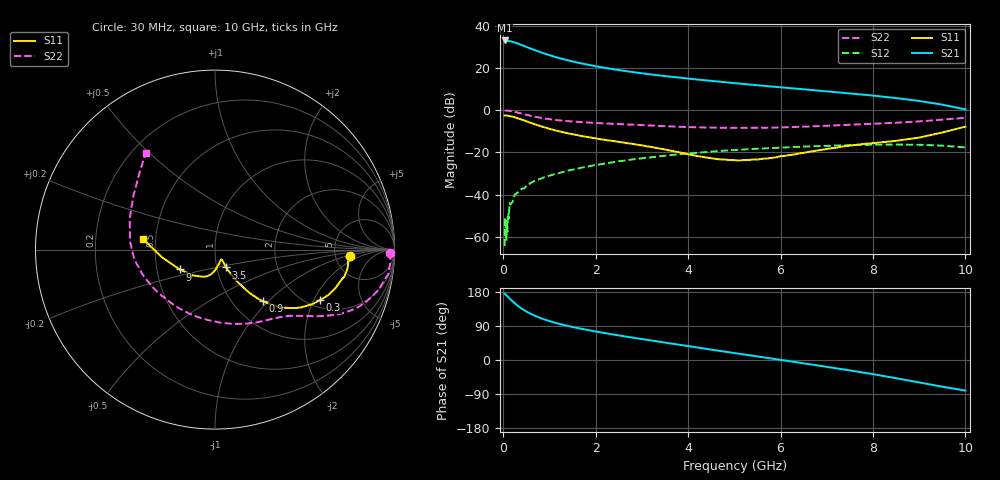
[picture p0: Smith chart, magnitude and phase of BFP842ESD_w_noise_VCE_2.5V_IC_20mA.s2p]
! Infineon Technologies  Discrete & RF Semiconductors
! BFP842ESD
! VCE =  2.5 V,  IC =  20 mA
! Common Emitter S-Parameters:  May 2012
# GHz  S  MA  R  50
!  f  S11  S21  S12  S22
! GHz  MAG  ANG  MAG  ANG  MAG  ANG  MAG  ANG
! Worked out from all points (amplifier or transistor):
!   99 points, 30 MHz to 10 GHz, reference 50 ohm
!   highest |S21| = 33.1 dB at 30 MHz (marker M1)
!   |S21| within 3 dB of that: start of sweep to 496.7 MHz
!   unconditionally stable (mu >= 1): 2.264 GHz to end of sweep
!   at 350 MHz: K = 0.45, MSG = 34.8 dB, |S12| = -38.2 dB
!   at 3.5 GHz: K = 1.06, MAG = 17.4 dB, |S12| = -21.6 dB
!   at 10 GHz: K = 1.75, MAG = 4.0 dB, |S12| = -17.6 dB
!   lowest NFmin = 0.81 dB at 450 MHz
!   S11 on the Smith chart (normalised r, x): 30 MHz: 6.84, -1.07; 300 MHz: 2.31, -2.25; 900 MHz: 1.36, -0.92; 3.5 GHz: 1.11, -0.22; 9 GHz: 0.66, -0.15; 10 GHz: 0.42, +0.06
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0.03  0.7503 -2.6  45.09 175.6  0.0006 100.8  0.9745 -1.1
0.04  0.7541 -3.4  44.88 174.2  0.0028 87.6  0.9803 -1.6
0.05  0.748 -4.7  44.49 172.8  0.0017 120.6  0.9785 -2.7
0.06  0.7434 -5.5  45.09 171.6  0.001 -85.2  0.9785 -3.3
0.15  0.7218 -14.0  43.21 160.9  0.0058 86.6  0.9583 -10.4
0.25  0.6791 -22.0  40.38 149.7  0.0101 78.2  0.9118 -16.8
0.3  0.6502 -25.6  38.51 144.6  0.0109 76.6  0.8874 -19.4
0.35  0.6246 -28.9  36.89 139.9  0.0123 73.9  0.8594 -21.9
0.45  0.5745 -34.2  33.39 131.6  0.014 72.7  0.8064 -25.7
0.6  0.5016 -40.2  28.76 121.5  0.019 70.4  0.7358 -29.9
0.8  0.4229 -45.3  23.87 110.8  0.0236 66.7  0.6663 -33.9
0.9  0.3908 -47.2  21.9 106.6  0.026 66.6  0.6377 -35.4
1.2  0.3182 -51.0  17.4 95.8  0.0321 63.2  0.5792 -39.5
1.7  0.2439 -53.7  12.83 82.2  0.0436 58.5  0.5221 -46.1
2.4  0.1865 -56.3  9.292 66.9  0.059 50.9  0.4762 -57.1
3.4  0.1227 -57.6  6.653 47.9  0.0813 39.5  0.4241 -76.9
3.5  0.1174 -57.9  6.462 46.0  0.0835 38.4  0.4191 -79.3
5.1  0.0648 -58.4  4.295 16.6  0.1157 16.7  0.3822 -119.1
6.7  0.1068 -86.6  2.998 -12.4  0.1402 -6.6  0.4156 -155.6
8.5  0.1886 -130.1  1.946 -48.0  0.1537 -38.1  0.506 159.9
9  0.2251 -150.5  1.662 -59.2  0.152 -48.5  0.5444 146.6
10  0.4084 171.4  1.049 -80.7  0.1316 -70.3  0.6626 125.6
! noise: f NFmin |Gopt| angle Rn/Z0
0.45  0.81  0.05  -152  0.09
0.9  0.81  0.07  -145  0.09
1.5  0.82  0.09  -141  0.08
1.9  0.82  0.11  -135  0.08
2.4  0.83  0.13  -132  0.08
3.5  0.88  0.16  -118  0.09
4  0.91  0.17  -115  0.1
5  0.98  0.18  -104  0.11
5.5  1.09  0.19  -101  0.12
6  1.19  0.2  -98  0.13
